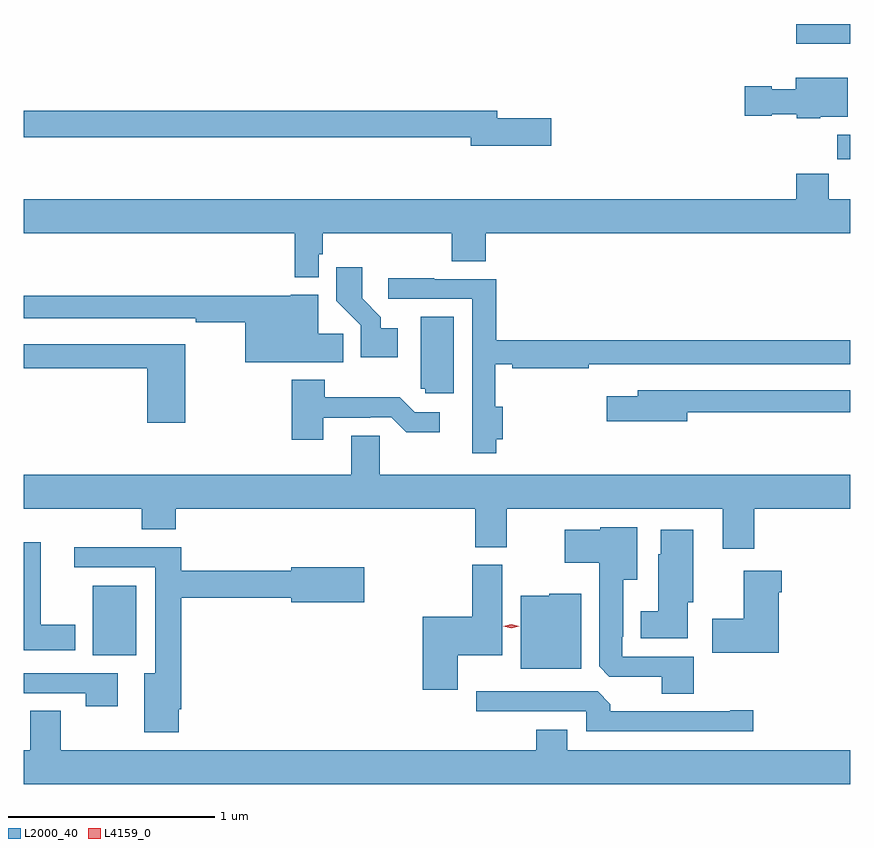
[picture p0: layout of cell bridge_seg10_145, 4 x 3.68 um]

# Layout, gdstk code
import gdstk
lib = gdstk.Library(unit=1e-6, precision=1e-09)
def R(c, l, rs):  # rectangles x0, y0, x1, y1
    for r in rs: c.add(gdstk.rectangle(r[:2], r[2:], *l))
def P(c, l, *ps):  # polygons
    for p in ps: c.add(gdstk.Polygon(p, *l))
L2000_40 = (2000, 40)
L4159_0 = (4159, 0)

bridge_seg10_145 = lib.new_cell('bridge_seg10_145')
R(bridge_seg10_145, L2000_40, [(322.466,1286.288,322.678,1286.623), (326.068,1288.686,326.132,1288.804), (325.871,1289.246,326.132,1289.341)])
P(bridge_seg10_145, L2000_40, [(325.986,1288.892),(326.119,1288.892),(326.119,1289.08),(325.868,1289.08),(325.868,1289.026),(325.752,1289.026),(325.752,1289.039),(325.62,1289.039),(325.62,1288.897),(325.752,1288.897),(325.752,1288.904),(325.872,1288.904),(325.872,1288.886),(325.986,1288.886)],
  [(324.685,1288.886),(324.424,1288.886),(324.424,1288.922),(322.132,1288.922),(322.132,1288.794),(324.296,1288.794),(324.296,1288.751),(324.685,1288.751)],
  [(323.559,1288.227),(323.579,1288.227),(323.579,1288.328),(324.203,1288.328),(324.203,1288.192),(324.368,1288.192),(324.368,1288.328),(326.132,1288.328),(326.132,1288.492),(326.027,1288.492),(326.027,1288.616),(325.871,1288.616),(325.871,1288.492),(322.132,1288.492),(322.132,1288.328),(323.443,1288.328),(323.443,1288.115),(323.559,1288.115)],
  [(323.941,1287.868),(323.86,1287.868),(323.86,1287.923),(323.77,1288.013),(323.77,1288.165),(323.644,1288.165),(323.644,1288.002),(323.763,1287.883),(323.763,1287.728),(323.941,1287.728)],
  [(324.419,1287.332),(324.449,1287.332),(324.449,1287.49),(324.415,1287.49),(324.415,1287.695),(324.496,1287.695),(324.496,1287.676),(324.866,1287.676),(324.866,1287.696),(326.132,1287.696),(326.132,1287.812),(324.419,1287.812),(324.419,1288.107),(324.119,1288.107),(324.119,1288.11),(323.895,1288.11),(323.895,1288.011),(324.303,1288.011),(324.303,1287.486),(324.302,1287.486),(324.302,1287.264),(324.419,1287.264)],
  [(323.678,1287.842),(323.557,1287.842),(323.557,1288.03),(323.424,1288.03),(323.424,1288.027),(322.132,1288.027),(322.132,1287.918),(322.966,1287.918),(322.966,1287.898),(323.204,1287.898),(323.204,1287.704),(323.678,1287.704)],
  [(324.214,1287.925),(324.053,1287.925),(324.053,1287.576),(324.075,1287.576),(324.075,1287.555),(324.214,1287.555)],
  [(322.913,1287.792),(322.132,1287.792),(322.132,1287.676),(322.73,1287.676),(322.73,1287.411),(322.913,1287.411)],
  [(323.581,1287.435),(323.81,1287.435),(323.81,1287.438),(323.91,1287.438),(323.983,1287.365),(324.145,1287.365),(324.145,1287.462),(324.024,1287.462),(323.951,1287.535),(323.589,1287.535),(323.589,1287.619),(323.429,1287.619),(323.429,1287.33),(323.581,1287.33)],
  [(325.342,1287.462),(326.132,1287.462),(326.132,1287.57),(325.103,1287.57),(325.103,1287.541),(324.954,1287.541),(324.954,1287.419),(325.342,1287.419)],
  [(325.667,1286.996),(326.132,1286.996),(326.132,1287.16),(323.856,1287.16),(323.856,1287.35),(323.717,1287.35),(323.717,1287.16),(322.132,1287.16),(322.132,1286.996),(322.703,1286.996),(322.703,1286.897),(322.868,1286.897),(322.868,1286.996),(324.317,1286.996),(324.317,1286.809),(324.469,1286.809),(324.469,1286.996),(325.514,1286.996),(325.514,1286.802),(325.667,1286.802)],
  [(325.373,1286.28),(325.029,1286.28),(325.029,1286.377),(325.033,1286.377),(325.033,1286.651),(325.102,1286.651),(325.102,1286.905),(324.921,1286.905),(324.921,1286.893),(324.75,1286.893),(324.75,1286.735),(324.917,1286.735),(324.917,1286.233),(324.966,1286.184),(325.22,1286.184),(325.22,1286.101),(325.373,1286.101)],
  [(325.345,1286.544),(325.372,1286.544),(325.372,1286.893),(325.214,1286.893),(325.214,1286.775),(325.202,1286.775),(325.202,1286.5),(325.118,1286.5),(325.118,1286.369),(325.345,1286.369)],
  [(322.381,1286.434),(322.216,1286.434),(322.216,1286.833),(322.132,1286.833),(322.132,1286.312),(322.381,1286.312)],
  [(322.882,1286.026),(322.895,1286.026),(322.895,1286.566),(323.426,1286.566),(323.426,1286.543),(323.779,1286.543),(323.779,1286.713),(323.426,1286.713),(323.426,1286.695),(322.895,1286.695),(322.895,1286.81),(322.377,1286.81),(322.377,1286.712),(322.769,1286.712),(322.769,1286.2),(322.715,1286.2),(322.715,1285.914),(322.882,1285.914)],
  [(324.232,1286.288),(324.448,1286.288),(324.448,1286.724),(324.302,1286.724),(324.302,1286.473),(324.062,1286.473),(324.062,1286.121),(324.232,1286.121)],
  [(325.786,1286.591),(325.799,1286.591),(325.799,1286.695),(325.616,1286.695),(325.616,1286.463),(325.464,1286.463),(325.464,1286.3),(325.786,1286.3)],
  [(324.829,1286.584),(324.675,1286.584),(324.675,1286.575),(324.536,1286.575),(324.536,1286.222),(324.829,1286.222)],
  [(322.588,1286.199),(322.132,1286.199),(322.132,1286.103),(322.432,1286.103),(322.432,1286.04),(322.588,1286.04)],
  [(325.663,1286.021),(325.55,1286.021),(325.55,1286.016),(324.971,1286.016),(324.971,1286.05),(324.909,1286.112),(324.321,1286.112),(324.321,1286.016),(324.855,1286.016),(324.855,1285.92),(325.663,1285.92)],
  [(326.132,1285.828),(324.763,1285.828),(324.763,1285.927),(324.611,1285.927),(324.611,1285.828),(322.311,1285.828),(322.311,1286.018),(322.163,1286.018),(322.163,1285.828),(322.132,1285.828),(322.132,1285.664),(326.132,1285.664)])
P(bridge_seg10_145, L4159_0, [(324.491,1286.417),(324.453,1286.427),(324.453,1286.427),(324.453,1286.427),(324.491,1286.437),(324.529,1286.428),(324.529,1286.428),(324.529,1286.427)])

lib.write_gds('bridge_seg10_145.gds')
